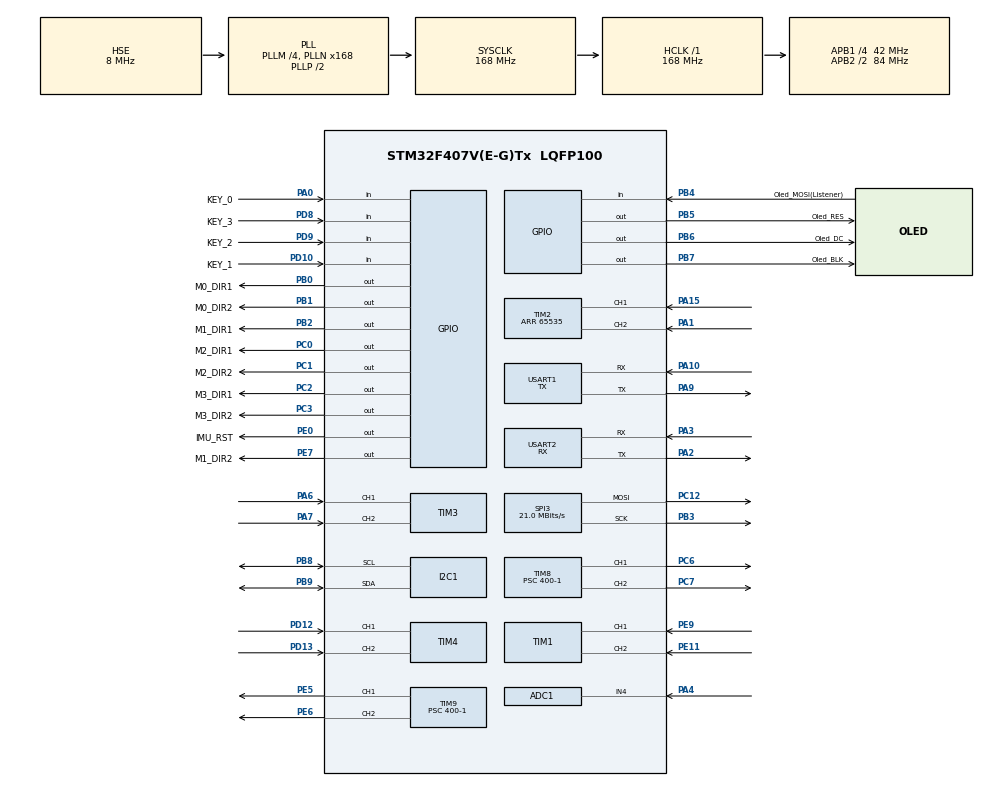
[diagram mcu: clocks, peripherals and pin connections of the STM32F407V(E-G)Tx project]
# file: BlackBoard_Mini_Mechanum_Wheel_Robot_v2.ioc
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ADC1.Channel-3\#ChannelRegularConversion=ADC_CHANNEL_4
ADC1.ClockPrescaler=ADC_CLOCK_SYNC_PCLK_DIV6
ADC1.ContinuousConvMode=ENABLE
ADC1.NbrOfConversionFlag=1
ADC1.Rank-3\#ChannelRegularConversion=1
ADC1.SamplingTime-3\#ChannelRegularConversion=ADC_SAMPLETIME_84CYCLES
ADC1.master=1
Dma.Request0=USART1_TX
Dma.Request1=SPI3_TX
Dma.Request2=USART2_RX
Dma.SPI3_TX.1.Direction=DMA_MEMORY_TO_PERIPH
Dma.SPI3_TX.1.FIFOMode=DMA_FIFOMODE_DISABLE
Dma.SPI3_TX.1.Instance=DMA1_Stream7
Dma.SPI3_TX.1.MemDataAlignment=DMA_MDATAALIGN_BYTE
Dma.SPI3_TX.1.MemInc=DMA_MINC_ENABLE
Dma.SPI3_TX.1.Mode=DMA_NORMAL
Dma.SPI3_TX.1.PeriphDataAlignment=DMA_PDATAALIGN_BYTE
Dma.SPI3_TX.1.PeriphInc=DMA_PINC_DISABLE
Dma.SPI3_TX.1.Priority=DMA_PRIORITY_MEDIUM
Dma.USART1_TX.0.Direction=DMA_MEMORY_TO_PERIPH
Dma.USART1_TX.0.FIFOMode=DMA_FIFOMODE_DISABLE
Dma.USART1_TX.0.Instance=DMA2_Stream7
Dma.USART1_TX.0.MemDataAlignment=DMA_MDATAALIGN_BYTE
Dma.USART1_TX.0.MemInc=DMA_MINC_ENABLE
Dma.USART1_TX.0.Mode=DMA_NORMAL
Dma.USART1_TX.0.PeriphDataAlignment=DMA_PDATAALIGN_BYTE
Dma.USART1_TX.0.PeriphInc=DMA_PINC_DISABLE
Dma.USART1_TX.0.Priority=DMA_PRIORITY_MEDIUM
Dma.USART2_RX.2.Direction=DMA_PERIPH_TO_MEMORY
Dma.USART2_RX.2.FIFOMode=DMA_FIFOMODE_DISABLE
Dma.USART2_RX.2.Instance=DMA1_Stream5
Dma.USART2_RX.2.MemDataAlignment=DMA_MDATAALIGN_BYTE
Dma.USART2_RX.2.MemInc=DMA_MINC_ENABLE
Dma.USART2_RX.2.Mode=DMA_NORMAL
Dma.USART2_RX.2.PeriphDataAlignment=DMA_PDATAALIGN_BYTE
Dma.USART2_RX.2.PeriphInc=DMA_PINC_DISABLE
Dma.USART2_RX.2.Priority=DMA_PRIORITY_MEDIUM
FREERTOS.Mutexes01=motorDataMutex,Dynamic,NULL,Depleted;EulerAngleMutex,Dynamic,NULL,Depleted;PIDValueMutex,Dynamic,NULL,Available
FREERTOS.Tasks01=EncoderTask,32,128,StartEncoderTask,Default,NULL,Dynamic,NULL,NULL;MotorTask,32,128,StartMotorTask,Default,NULL,Dynamic,NULL,NULL;ControllerTask,32,512,StartControllerTask,Default,NULL,Dynamic,NULL,NULL;OledTask,24,1024,StartOledTask,Default,NULL,Dynamic,NULL,NULL;PIDTask,32,256,StartPIDTask,Default,NULL,Dynamic,NULL,NULL;IMUTask,32,512,StartIMUTask,Default,NULL,Dynamic,NULL,NULL
FREERTOS.configENABLE_FPU=1
FREERTOS.configGENERATE_RUN_TIME_STATS=1
FREERTOS.configRECORD_STACK_HIGH_ADDRESS=1
FREERTOS.configUSE_NEWLIB_REENTRANT=1
FREERTOS.configUSE_STATS_FORMATTING_FUNCTIONS=1
I2C1.I2C_Mode=I2C_Fast
Mcu.Family=STM32F4
Mcu.Name=STM32F407V(E-G)Tx
Mcu.Package=LQFP100
NVIC.DMA1_Stream5_IRQn=true\:5\:0\:false\:false\:true\:true\:false\:true\:true
NVIC.DMA1_Stream7_IRQn=true\:5\:0\:false\:false\:true\:false\:false\:true\:true
NVIC.DMA2_Stream7_IRQn=true\:5\:0\:false\:false\:true\:true\:false\:true\:true
NVIC.PriorityGroup=NVIC_PRIORITYGROUP_4
NVIC.TIM6_DAC_IRQn=true\:15\:0\:false\:false\:true\:false\:false\:true\:true
NVIC.TimeBase=TIM6_DAC_IRQn
NVIC.TimeBaseIP=TIM6
NVIC.USART1_IRQn=true\:5\:0\:false\:false\:true\:true\:true\:true\:true
NVIC.USART2_IRQn=true\:5\:0\:false\:false\:true\:true\:true\:true\:true
PA0-WKUP.GPIO_Label=KEY_0
PA0-WKUP.GPIO_PuPd=GPIO_PULLDOWN
PA0-WKUP.Signal=GPIO_Input
PA1.Signal=S_TIM2_CH2
PA10.Mode=Asynchronous
PA10.Signal=USART1_RX
PA13.Mode=Serial_Wire
PA13.Signal=SYS_JTMS-SWDIO
PA14.Mode=Serial_Wire
PA14.Signal=SYS_JTCK-SWCLK
PA15.Signal=S_TIM2_CH1_ETR
PA2.Mode=Asynchronous
PA2.Signal=USART2_TX
PA3.Mode=Asynchronous
PA3.Signal=USART2_RX
PA4.Signal=ADCx_IN4
PA6.Signal=S_TIM3_CH1
PA7.Signal=S_TIM3_CH2
PA9.Mode=Asynchronous
PA9.Signal=USART1_TX
PB0.GPIO_Label=M0_DIR1
PB0.Signal=GPIO_Output
PB1.GPIO_Label=M0_DIR2
PB1.Signal=GPIO_Output
PB2.GPIO_Label=M1_DIR1
PB2.Signal=GPIO_Output
PB3.Mode=TX_Only_Simplex_Unidirect_Master
PB3.Signal=SPI3_SCK
PB4.GPIO_Label=Oled_MOSI(Listener)
PB4.Signal=GPIO_Input
PB5.GPIO_Label=Oled_RES
PB5.Signal=GPIO_Output
PB6.GPIO_Label=Oled_DC
PB6.Signal=GPIO_Output
PB7.GPIO_Label=Oled_BLK
PB7.PinState=GPIO_PIN_SET
PB7.Signal=GPIO_Output
PB8.Mode=I2C
PB8.Signal=I2C1_SCL
PB9.Mode=I2C
PB9.Signal=I2C1_SDA
PC0.GPIO_Label=M2_DIR1
PC0.Signal=GPIO_Output
PC1.GPIO_Label=M2_DIR2
PC1.Signal=GPIO_Output
PC12.Mode=TX_Only_Simplex_Unidirect_Master
PC12.Signal=SPI3_MOSI
PC2.GPIO_Label=M3_DIR1
PC2.Signal=GPIO_Output
PC3.GPIO_Label=M3_DIR2
PC3.Signal=GPIO_Output
PC6.Signal=S_TIM8_CH1
PC7.Signal=S_TIM8_CH2
PD10.GPIO_Label=KEY_1
PD10.GPIO_PuPd=GPIO_PULLUP
PD10.Signal=GPIO_Input
PD12.Signal=S_TIM4_CH1
PD13.Signal=S_TIM4_CH2
PD8.GPIO_Label=KEY_3
PD8.GPIO_PuPd=GPIO_PULLUP
PD8.Signal=GPIO_Input
PD9.GPIO_Label=KEY_2
PD9.GPIO_PuPd=GPIO_PULLUP
PD9.Signal=GPIO_Input
PE0.GPIO_Label=IMU_RST
PE0.Signal=GPIO_Output
PE11.Signal=S_TIM1_CH2
PE5.Signal=S_TIM9_CH1
PE6.Signal=S_TIM9_CH2
PE7.GPIO_Label=M1_DIR2
PE7.Signal=GPIO_Output
PE9.Signal=S_TIM1_CH1
PH0-OSC_IN.Mode=HSE-External-Oscillator
PH0-OSC_IN.Signal=RCC_OSC_IN
PH1-OSC_OUT.Mode=HSE-External-Oscillator
PH1-OSC_OUT.Signal=RCC_OSC_OUT
ProjectManager.HeapSize=0x200
ProjectManager.StackSize=0x400
ProjectManager.TargetToolchain=STM32CubeIDE
RCC.48MHZClocksFreq_Value=84000000
RCC.AHBFreq_Value=168000000
RCC.APB1CLKDivider=RCC_HCLK_DIV4
RCC.APB1Freq_Value=42000000
RCC.APB1TimFreq_Value=84000000
RCC.APB2CLKDivider=RCC_HCLK_DIV2
RCC.APB2Freq_Value=84000000
RCC.APB2TimFreq_Value=168000000
RCC.CortexFreq_Value=168000000
RCC.HCLKFreq_Value=168000000
RCC.HSE_VALUE=8000000
RCC.HSI_VALUE=16000000
RCC.LSE_VALUE=32768
RCC.PLLM=4
RCC.PLLN=168
RCC.PLLSourceVirtual=RCC_PLLSOURCE_HSE
RCC.SYSCLKFreq_VALUE=168000000
RCC.SYSCLKSource=RCC_SYSCLKSOURCE_PLLCLK
RCC.VCOOutputFreq_Value=336000000
SH.ADCx_IN4.0=ADC1_IN4,IN4
SH.S_TIM1_CH1.0=TIM1_CH1,Encoder_Interface
SH.S_TIM1_CH2.0=TIM1_CH2,Encoder_Interface
SH.S_TIM2_CH1_ETR.0=TIM2_CH1,Encoder_Interface
SH.S_TIM2_CH2.0=TIM2_CH2,Encoder_Interface
SH.S_TIM3_CH1.0=TIM3_CH1,Encoder_Interface
SH.S_TIM3_CH2.0=TIM3_CH2,Encoder_Interface
SH.S_TIM4_CH1.0=TIM4_CH1,Encoder_Interface
SH.S_TIM4_CH2.0=TIM4_CH2,Encoder_Interface
SH.S_TIM8_CH1.0=TIM8_CH1,PWM Generation1 CH1
SH.S_TIM8_CH2.0=TIM8_CH2,PWM Generation2 CH2
SH.S_TIM9_CH1.0=TIM9_CH1,PWM Generation1 CH1
SH.S_TIM9_CH2.0=TIM9_CH2,PWM Generation2 CH2
SPI3.BaudRatePrescaler=SPI_BAUDRATEPRESCALER_2
SPI3.CLKPolarity=SPI_POLARITY_HIGH
SPI3.CalculateBaudRate=21.0 MBits/s
SPI3.Direction=SPI_DIRECTION_2LINES
SPI3.Mode=SPI_MODE_MASTER
SPI3.VirtualType=VM_MASTER
TIM1.EncoderMode=TIM_ENCODERMODE_TI12
TIM2.EncoderMode=TIM_ENCODERMODE_TI12
TIM2.Period=65535
TIM3.EncoderMode=TIM_ENCODERMODE_TI12
TIM4.EncoderMode=TIM_ENCODERMODE_TI12
TIM8.Channel-PWM\ Generation1\ CH1=TIM_CHANNEL_1
TIM8.Channel-PWM\ Generation2\ CH2=TIM_CHANNEL_2
TIM8.Period=1000-1
TIM8.Prescaler=400-1
TIM9.Channel-PWM\ Generation1\ CH1=TIM_CHANNEL_1
TIM9.Channel-PWM\ Generation2\ CH2=TIM_CHANNEL_2
TIM9.Period=1000-1
TIM9.Prescaler=400-1
USART1.Mode=MODE_TX
USART1.VirtualMode=VM_ASYNC
USART2.Mode=MODE_RX
USART2.VirtualMode=VM_ASYNC
VP_FREERTOS_VS_CMSIS_V2.Mode=CMSIS_V2
VP_SYS_VS_tim6.Mode=TIM6
VP_TIM8_VS_ClockSourceINT.Mode=Internal
VP_TIM9_VS_ClockSourceINT.Mode=Internal
board=custom

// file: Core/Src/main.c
/* USER CODE BEGIN Header */
/**
  ******************************************************************************
  * @file           : main.c
  * @brief          : Main program body
  ******************************************************************************
  * @attention
  *
  * Copyright (c) 2025 STMicroelectronics.
  * All rights reserved.
  *
  * This software is licensed under terms that can be found in the LICENSE file
  * in the root directory of this software component.
  * If no LICENSE file comes with this software, it is provided AS-IS.
  *
  ******************************************************************************
  */
/* USER CODE END Header */
#include "main.h"
#include "cmsis_os.h"
#include "adc.h"
#include "dma.h"
#include "i2c.h"
#include "spi.h"
#include "tim.h"
#include "usart.h"
#include "gpio.h"

/* USER CODE BEGIN Includes */

#include "uart_handler.h"
#include "controller_input.h"
#include "motor.h"
#include "encoder.h"
//#include "oled.h"
#include "st7789.h"
#include "bno08x.h"

/* USER CODE END Includes */

/* USER CODE BEGIN PM */
volatile uint8_t BNO_Ready = 0;
/* USER CODE END PM */

void SystemClock_Config(void);
void MX_FREERTOS_Init(void);

int main(void)
{

  /* MCU Configuration--------------------------------------------------------*/

  /* Reset of all peripherals, Initializes the Flash interface and the Systick. */
  HAL_Init();

  /* Configure the system clock */
  SystemClock_Config();

  /* Initialize all configured peripherals */
  MX_GPIO_Init();
  MX_DMA_Init();
  MX_TIM1_Init();
  MX_TIM4_Init();
  MX_TIM8_Init();
  MX_USART1_UART_Init();
  MX_SPI3_Init();
  MX_USART2_UART_Init();
  MX_I2C1_Init();
  MX_ADC1_Init();
  MX_TIM2_Init();
  MX_TIM3_Init();
  MX_TIM9_Init();
  /* USER CODE BEGIN 2 */

  UART_Init(); // Initialize uart handler
  motor_INIT();
  encoder_INIT();
//  OLED_Init();
  ST7789_Init();
  // BNO085_Init();
  I2C_Init(); // BNO08X Init
  /* USER CODE END 2 */

  /* Init scheduler */
  osKernelInitialize();

  /* Call init function for freertos objects (in cmsis_os2.c) */
  MX_FREERTOS_Init();

  /* Start scheduler */
  osKernelStart();

  /* We should never get here as control is now taken by the scheduler */

  /* Infinite loop */
  while (1)
  {

    /* USER CODE BEGIN 3 */
	  osDelay(1000);
  }
  /* USER CODE END 3 */
}

void SystemClock_Config(void)
{
  RCC_OscInitTypeDef RCC_OscInitStruct = {0};
  RCC_ClkInitTypeDef RCC_ClkInitStruct = {0};

  /** Configure the main internal regulator output voltage
  */
  __HAL_RCC_PWR_CLK_ENABLE();
  __HAL_PWR_VOLTAGESCALING_CONFIG(PWR_REGULATOR_VOLTAGE_SCALE1);

  /** Initializes the RCC Oscillators according to the specified parameters
  * in the RCC_OscInitTypeDef structure.
  */
  RCC_OscInitStruct.OscillatorType = RCC_OSCILLATORTYPE_HSE;
  RCC_OscInitStruct.HSEState = RCC_HSE_ON;
  RCC_OscInitStruct.PLL.PLLState = RCC_PLL_ON;
  RCC_OscInitStruct.PLL.PLLSource = RCC_PLLSOURCE_HSE;
  RCC_OscInitStruct.PLL.PLLM = 4;
  RCC_OscInitStruct.PLL.PLLN = 168;
  RCC_OscInitStruct.PLL.PLLP = RCC_PLLP_DIV2;
  RCC_OscInitStruct.PLL.PLLQ = 4;
  if (HAL_RCC_OscConfig(&RCC_OscInitStruct) != HAL_OK)
  {
    Error_Handler();
  }

  /** Initializes the CPU, AHB and APB buses clocks
  */
  RCC_ClkInitStruct.ClockType = RCC_CLOCKTYPE_HCLK|RCC_CLOCKTYPE_SYSCLK
                              |RCC_CLOCKTYPE_PCLK1|RCC_CLOCKTYPE_PCLK2;
  RCC_ClkInitStruct.SYSCLKSource = RCC_SYSCLKSOURCE_PLLCLK;
  RCC_ClkInitStruct.AHBCLKDivider = RCC_SYSCLK_DIV1;
  RCC_ClkInitStruct.APB1CLKDivider = RCC_HCLK_DIV4;
  RCC_ClkInitStruct.APB2CLKDivider = RCC_HCLK_DIV2;

  if (HAL_RCC_ClockConfig(&RCC_ClkInitStruct, FLASH_LATENCY_5) != HAL_OK)
  {
    Error_Handler();
  }
}

void HAL_TIM_PeriodElapsedCallback(TIM_HandleTypeDef *htim)
{
  if (htim->Instance == TIM6)
  {
    HAL_IncTick();
  }
}

void Error_Handler(void)
{
  __disable_irq();
  while (1)
  {
  }
}

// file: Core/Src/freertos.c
/* USER CODE BEGIN Header */
/**
  ******************************************************************************
  * File Name          : freertos.c
  * Description        : Code for freertos applications
  ******************************************************************************
  * @attention
  *
  * Copyright (c) 2025 STMicroelectronics.
  * All rights reserved.
  *
  * This software is licensed under terms that can be found in the LICENSE file
  * in the root directory of this software component.
  * If no LICENSE file comes with this software, it is provided AS-IS.
  *
  ******************************************************************************
  */
/* USER CODE END Header */

#include "FreeRTOS.h"
#include "task.h"
#include "main.h"
#include "cmsis_os.h"

/* USER CODE BEGIN Includes */

#include "uart_handler.h"
#include "usart.h"
#include "controller_input.h"
#include "motor.h"
#include "encoder.h"
#include "kinematics.h"
//#include "oled.h"
#include "st7789.h"
#include "pid.h"
#include "bno08x.h"
#include "menu.h"
#include "key.h"
#include "adc.h"
/* USER CODE END Includes */

/* Definitions for EncoderTask */
osThreadId_t EncoderTaskHandle;
const osThreadAttr_t EncoderTask_attributes = {
  .name = "EncoderTask",
  .stack_size = 128 * 4,
  .priority = (osPriority_t) osPriorityAboveNormal,
};
/* Definitions for MotorTask */
osThreadId_t MotorTaskHandle;
const osThreadAttr_t MotorTask_attributes = {
  .name = "MotorTask",
  .stack_size = 128 * 4,
  .priority = (osPriority_t) osPriorityAboveNormal,
};
/* Definitions for ControllerTask */
osThreadId_t ControllerTaskHandle;
const osThreadAttr_t ControllerTask_attributes = {
  .name = "ControllerTask",
  .stack_size = 512 * 4,
  .priority = (osPriority_t) osPriorityAboveNormal,
};
/* Definitions for OledTask */
osThreadId_t OledTaskHandle;
const osThreadAttr_t OledTask_attributes = {
  .name = "OledTask",
  .stack_size = 1024 * 4,
  .priority = (osPriority_t) osPriorityNormal,
};
/* Definitions for PIDTask */
osThreadId_t PIDTaskHandle;
const osThreadAttr_t PIDTask_attributes = {
  .name = "PIDTask",
  .stack_size = 256 * 4,
  .priority = (osPriority_t) osPriorityAboveNormal,
};
/* Definitions for IMUTask */
osThreadId_t IMUTaskHandle;
const osThreadAttr_t IMUTask_attributes = {
  .name = "IMUTask",
  .stack_size = 512 * 4,
  .priority = (osPriority_t) osPriorityAboveNormal,
};
/* Definitions for motorDataMutex */
osMutexId_t motorDataMutexHandle;
const osMutexAttr_t motorDataMutex_attributes = {
  .name = "motorDataMutex"
};
/* Definitions for EulerAngleMutex */
osMutexId_t EulerAngleMutexHandle;
const osMutexAttr_t EulerAngleMutex_attributes = {
  .name = "EulerAngleMutex"
};
/* Definitions for PIDValueMutex */
osMutexId_t PIDValueMutexHandle;
const osMutexAttr_t PIDValueMutex_attributes = {
  .name = "PIDValueMutex"
};

void StartEncoderTask(void *argument);
void StartMotorTask(void *argument);
void StartControllerTask(void *argument);
void StartOledTask(void *argument);
void StartPIDTask(void *argument);
void StartIMUTask(void *argument);

void MX_FREERTOS_Init(void); /* (MISRA C 2004 rule 8.1) */

/* Hook prototypes */
void configureTimerForRunTimeStats(void);
unsigned long getRunTimeCounterValue(void);

/* USER CODE BEGIN 1 */
/* Functions needed when configGENERATE_RUN_TIME_STATS is on */
__weak void configureTimerForRunTimeStats(void)
{

}

__weak unsigned long getRunTimeCounterValue(void)
{
return 0;
}
/* USER CODE END 1 */

void MX_FREERTOS_Init(void) {
  /* Create the mutex(es) */
  /* creation of motorDataMutex */
  motorDataMutexHandle = osMutexNew(&motorDataMutex_attributes);

  /* creation of EulerAngleMutex */
  EulerAngleMutexHandle = osMutexNew(&EulerAngleMutex_attributes);

  /* creation of PIDValueMutex */
  PIDValueMutexHandle = osMutexNew(&PIDValueMutex_attributes);

  /* Create the thread(s) */
  /* creation of EncoderTask */
  EncoderTaskHandle = osThreadNew(StartEncoderTask, NULL, &EncoderTask_attributes);

  /* creation of MotorTask */
  MotorTaskHandle = osThreadNew(StartMotorTask, NULL, &MotorTask_attributes);

  /* creation of ControllerTask */
  ControllerTaskHandle = osThreadNew(StartControllerTask, NULL, &ControllerTask_attributes);

  /* creation of OledTask */
  OledTaskHandle = osThreadNew(StartOledTask, NULL, &OledTask_attributes);

  /* creation of PIDTask */
  PIDTaskHandle = osThreadNew(StartPIDTask, NULL, &PIDTask_attributes);

  /* creation of IMUTask */
  IMUTaskHandle = osThreadNew(StartIMUTask, NULL, &IMUTask_attributes);

}

void StartEncoderTask(void *argument)
{
  /* USER CODE BEGIN StartEncoderTask */
	uint32_t previousWakeTime = osKernelGetTickCount();
//	EncoderCounts prev_counts = {0};
	const uint32_t delayTime = 10; // 10ms
  /* Infinite loop */
  for(;;)
  {
	  encoderRPM();
	  previousWakeTime += delayTime;
	  osDelayUntil(previousWakeTime);
  }
  /* USER CODE END StartEncoderTask */
}

void StartMotorTask(void *argument)
{
  /* USER CODE BEGIN StartMotorTask */
	uint32_t previousWakeTime = osKernelGetTickCount();
	const uint32_t delayTime = 10; // 10ms period
	/* Infinite loop */
	for(;;)
	{
		controlMotor(motor, 4);
		previousWakeTime += delayTime;
		osDelayUntil(previousWakeTime);
	}
  /* USER CODE END StartMotorTask */
}

void StartControllerTask(void *argument)
{
  /* USER CODE BEGIN StartControllerTask */
	uint32_t previousWakeTime = osKernelGetTickCount();
	const uint32_t delayTime = 10;
  /* Infinite loop */
  for(;;)
  {
	  processGamepad();
	  previousWakeTime += delayTime;
	  osDelayUntil(previousWakeTime);
  }
  /* USER CODE END StartControllerTask */
}

void StartOledTask(void *argument)
{
  /* USER CODE BEGIN StartOledTask */
	uint32_t previousWakeTime = osKernelGetTickCount();
	const uint32_t delayTime = 10;

	Motor local_motor[4] = {0};
	char MessageMotor0[40], MessageMotor1[40], MessageMotor2[40], MessageMotor3[40];

	BNO_Data local_bno = {0};
	Desired_Data local_desired_data = {0};
	char MessageYaw[40], MessageQuatAccuracy[40];
	char MessageGyroZ[40], MessageDesiredYaw[40];

	// ADC: Variables for voltage calculation
	uint32_t raw_adc_value = 0;
	float calculated_voltage = 0.0f;
	char MessageVoltage[40];

	// screen rotation modify in st7789.h
  /* Infinite loop */
  for(;;)
  {
	  if(osMutexAcquire(motorDataMutexHandle, 10) == osOK) {
		  memcpy(local_motor, motor, sizeof(Motor) * 4);
	      osMutexRelease(motorDataMutexHandle);
	  }

	  if(osMutexAcquire(EulerAngleMutexHandle, 10) == osOK) {
	  	  memcpy(&local_bno, &bno_data, sizeof(BNO_Data));
	  	  memcpy(&local_desired_data, &desired_data, sizeof(Desired_Data));
	      osMutexRelease(EulerAngleMutexHandle);
	  }

  	// HAL_ADC_Start(&hadc1);
  	// if (HAL_ADC_PollForConversion(&hadc1, HAL_MAX_DELAY) == HAL_OK) // Poll with a 10ms timeout
  	// {
  	// 	raw_adc_value = HAL_ADC_GetValue(&hadc1);
  	// }

  	// --- Calculations & Formatting ---
  	// ADC: Calculate voltage from the raw ADC value
  	// calculated_voltage = ((float)raw_adc_value / 4095.0f) * 3.4f * 11.0f;
  	// calculated_voltage = raw_adc_value;
//	  sprintf(MessageMotor0, "M0:%4d  %4d  %3d",(int)localmotor[0].rpmDesired, (int)localmotor[0].rpmMeasured, (int)localmotor[0].pwm);
//	  sprintf(MessageMotor1, "M1:%4d  %4d  %3d",(int)localmotor[1].rpmDesired, (int)localmotor[1].rpmMeasured, (int)localmotor[1].pwm);
//	  sprintf(MessageMotor2, "M2:%4d  %4d  %3d",(int)localmotor[2].rpmDesired, (int)localmotor[2].rpmMeasured, (int)localmotor[2].pwm);
//	  sprintf(MessageMotor3, "M3:%4d  %4d  %3d",(int)localmotor[3].rpmDesired, (int)localmotor[3].rpmMeasured, (int)localmotor[3].pwm);

  	// space after every value so that no left decimal place that are not refresh
  	sprintf(MessageMotor0, "M0:%4d  %5d", (int)local_motor[0].rpmFiltered, (int)local_motor[0].pwm);
  	sprintf(MessageMotor1, "M1:%4d  %5d", (int)local_motor[1].rpmFiltered, (int)local_motor[1].pwm);
  	sprintf(MessageMotor2, "M2:%4d  %5d", (int)local_motor[2].rpmFiltered, (int)local_motor[2].pwm);
  	sprintf(MessageMotor3, "M3:%4d  %5d", (int)local_motor[3].rpmFiltered, (int)local_motor[3].pwm);

	sprintf(MessageYaw,          "Yaw:      %5.1f ", local_bno.yaw);
  	sprintf(MessageQuatAccuracy, "Accuracy: %2d ", local_bno.quat_accuracy);

  	sprintf(MessageGyroZ,        "GyroZ:    %5.1f ", local_bno.gyroZ);
  	sprintf(MessageDesiredYaw,   "DesYaw:   %5.1f ", local_desired_data.yaw);
	// sprintf(MessageVoltage,    "Batt:    %3.2fV", calculated_voltage);
	// OLED_ShowString(0, 0, "    RPM1 RPM  PWM", OLED_7X12);
	//
	// OLED_ShowString(0, 12+3, MessageMotor0, OLED_7X12);
	// OLED_ShowString(0, 24+3, MessageMotor1, OLED_7X12);
	// OLED_ShowString(0, 36+3, MessageMotor2, OLED_7X12);
	// OLED_ShowString(0, 48+3, MessageMotor3, OLED_7X12);
	//
	// OLED_Update();
	ST7789_DrawRectangle(1,1,238,238,WHITE);
	ST7789_WriteString(10, 10, "    RPM    PWM", Font_11x18, WHITE, DARKBLUE);

  	ST7789_WriteString(10, 10+20+5, MessageMotor0, Font_11x18, MAGENTA, DARKBLUE);
  	ST7789_WriteString(10, 10+20*2+5, MessageMotor1, Font_11x18, YELLOW, DARKBLUE);
  	ST7789_WriteString(10, 10+20*3+5, MessageMotor2, Font_11x18, CYAN, DARKBLUE);
  	ST7789_WriteString(10, 10+20*4+5, MessageMotor3, Font_11x18, LIGHTGREEN, DARKBLUE);

  	ST7789_WriteString(10, 10+20*6+5, MessageYaw, Font_11x18, GREEN, DARKBLUE);
  	ST7789_WriteString(10, 10+20*7+5, MessageQuatAccuracy, Font_11x18, LGREY, DARKBLUE);

  	ST7789_WriteString(10, 10+20*8+5, MessageGyroZ, Font_11x18, WHITE, DARKBLUE);
  	ST7789_WriteString(10, 10+20*9+5, MessageDesiredYaw, Font_11x18, BRRED, DARKBLUE);
	// ST7789_WriteString(10, 10+20*9+10, MessageVoltage, Font_11x18, RED, DARKBLUE);

	uint8_t KeyNum = Key_GetNum();
	if (KeyNum > 0) {
	  ST7789_Fill_Color(BGCOLOUR);
	  mainMenu();
	}

	previousWakeTime += delayTime;
	osDelayUntil(previousWakeTime);
  }
  /* USER CODE END StartOledTask */
}

void StartPIDTask(void *argument)
{
  /* USER CODE BEGIN StartPIDTask */
	uint32_t previousWakeTime = osKernelGetTickCount();
	const uint32_t delayTime = 10;  // 10ms period (100Hz)

	/* Infinite loop */
	for(;;)
	{
		PID_Data_Refresh();
#ifndef PWM_ONLY
		PID_Speed();
#endif
		PID_Orientation();

		previousWakeTime += delayTime;
		osDelayUntil(previousWakeTime);
	}
  /* USER CODE END StartPIDTask */
}

void StartIMUTask(void *argument)
{
  /* USER CODE BEGIN StartIMUTask */

	float q0, q1, q2, q3;
	float roll, pitch, yaw;

	// ADDED: Flag to track if we've successfully saved calibration to flash
	bool calibrationSaved = false;
	// ADDED: Track time to ensure the sensor has been stable at high accuracy for a moment
	uint32_t highAccuracyStartTime = 0;

	HAL_GPIO_WritePin(IMU_RST_GPIO_Port, IMU_RST_Pin, GPIO_PIN_RESET);
	osDelay(10);
	HAL_GPIO_WritePin(IMU_RST_GPIO_Port, IMU_RST_Pin, GPIO_PIN_SET);
	osDelay(190);

	// Reset Sensor
	softReset();
	// enableARVRStabilizedRotationVector(5);
	// enableRotationVector(5);
	enableGameRotationVector(5);
	// enableAccelerometer(100);
	// enableLinearAccelerometer(100);
	enableGyro(5);
	// enableMagnetometer(100);
	// enableStepCounter(100);
	// enableStabilityClassifier(100);

	// Start calibration background process
	// calibrateAll();

	uint32_t previousWakeTime = osKernelGetTickCount();
	const uint32_t delayTime = 5;

  /* Infinite loop */
	for(;;)
	{
		while ( dataAvailable() )
		{
			q0 = getQuatReal();
			q1 = getQuatI();
			q2 = getQuatJ();
			q3 = getQuatK();

			// roll = atan2( 2 * ( q0 * q1 + q2 * q3 ) ,  1- 2 * ( q1 * q1 + q2 * q2 ) ) * 57.295779515f;
			// pitch = asin( 2 * ( q0 * q2 - q3 * q1 ) ) * 57.295779515f;
			yaw = atan2( 2 * ( q0 * q3 + q1 * q2 ) ,  1 - 2 * ( q2 * q2 + q3 * q3 ) ) * 57.295779515f;
            uint8_t current_accuracy = getQuatAccuracy();

			if(osMutexAcquire(EulerAngleMutexHandle, 10) == osOK) {
				// bno_data.roll  = roll;
				// bno_data.pitch = pitch;
				bno_data.yaw = yaw;
				bno_data.quat_accuracy = current_accuracy;
				// bno_data.gyroX = getGyroX();
				// bno_data.gyroY = getGyroY();
				bno_data.gyroZ = getGyroZ();

				osMutexRelease(EulerAngleMutexHandle);
			}

			// --- SAFE CALIBRATION SAVE LOGIC ---
			// If we haven't saved yet, and accuracy is high (3)
			if (!calibrationSaved && current_accuracy == 3) {
				if (highAccuracyStartTime == 0) {
					// Start a 2-second timer to ensure it's STABLE at accuracy 3
					highAccuracyStartTime = osKernelGetTickCount();
				}
				else if ((osKernelGetTickCount() - highAccuracyStartTime) >= 2000) {
					// It has been stable at accuracy 3 for 2 seconds. Save it to flash.
					saveCalibration();
					calibrationSaved = true; // Never save again this power cycle
				}
			}
			else if (current_accuracy < 3) {
				// Reset the stability timer if accuracy drops
				highAccuracyStartTime = 0;
			}
			// -----------------------------------
		}
		previousWakeTime += delayTime;
		osDelayUntil(previousWakeTime);
	}
  /* USER CODE END StartIMUTask */
}
